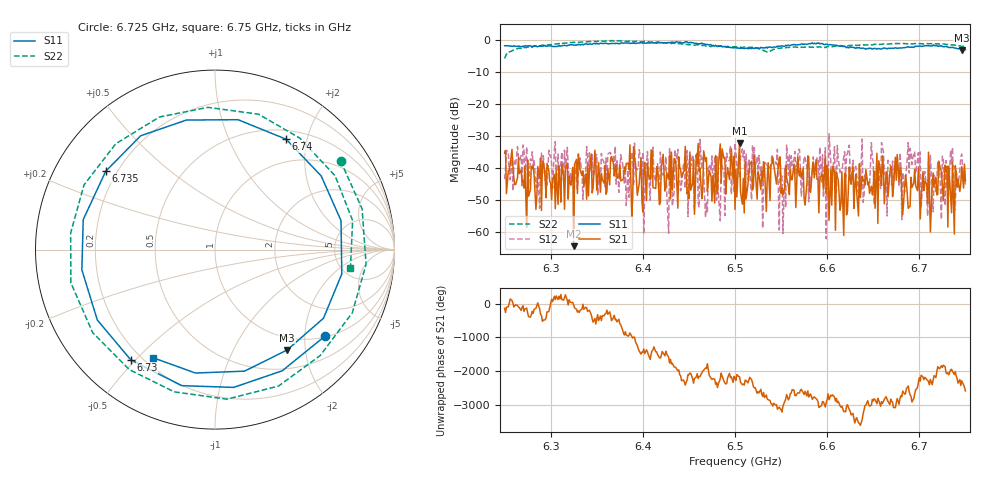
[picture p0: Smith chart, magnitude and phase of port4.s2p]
# Hz S RI R 50
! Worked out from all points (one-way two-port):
!   401 points, 6.25 GHz to 6.75 GHz, reference 50 ohm
!   highest |S21| = -32.35 dB at 6.505 GHz (marker M1); lowest = -64.5 dB at 6.325 GHz (marker M2)
!   lowest |S11| = -3.2 dB at 6.746 GHz (marker M3), VSWR 5.42, Z = 39.1 - j83.3 ohm
!   |S11| at or under -10 dB: nowhere
!   |S22| runs from -5.9 to -0.3 dB; largest |S21 - S12| = 0.035
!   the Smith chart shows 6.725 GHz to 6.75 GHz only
!   S11 on the Smith chart (normalised r, x): 6.725 GHz: 1.02, -2.51; 6.73 GHz: 0.16, -0.48; 6.735 GHz: 0.16, +0.31; 6.74 GHz: 0.63, +1.66; 6.75 GHz: 0.24, -0.56
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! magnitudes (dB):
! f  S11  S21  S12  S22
! 6.25 GHz  -1.9  -35.5  -43.6  -5.9
! 6.325 GHz  -1.8  -64.5  -42.8  -0.8
! 6.334 GHz  -1.5  -42.5  -42.5  -0.7
! 6.418 GHz  -1.0  -51.6  -50.1  -0.9
! 6.452 GHz  -0.9  -47.1  -39.5  -1.6
! 6.469 GHz  -1.5  -36.9  -50.9  -2.0
! 6.5 GHz  -2.4  -53.0  -32.3  -2.2
! 6.505 GHz  -2.7  -32.4  -42.7  -2.3
! 6.544 GHz  -2.4  -43.1  -38.1  -3.0
! 6.55 GHz  -2.0  -48.0  -43.3  -2.6
! 6.559 GHz  -1.9  -48.4  -35.8  -2.4
! 6.584 GHz  -1.1  -40.3  -39.9  -2.3
! 6.62 GHz  -2.2  -41.6  -43.1  -1.9
! 6.668 GHz  -2.7  -41.8  -39.1  -1.4
! 6.684 GHz  -2.5  -46.7  -47.7  -1.3
! 6.692 GHz  -2.3  -46.2  -39.0  -1.3
! 6.725 GHz  -2.2  -45.4  -36.4  -1.3
! 6.73 GHz  -2.2  -39.6  -46.1  -1.6
! 6.735 GHz  -2.5  -54.1  -39.0  -1.7
! 6.74 GHz  -2.7  -41.3  -41.3  -1.8
! 6.746 GHz  -3.2  -39.7  -35.8  -2.2
! 6.75 GHz  -3.2  -44.1  -46.1  -2.4
